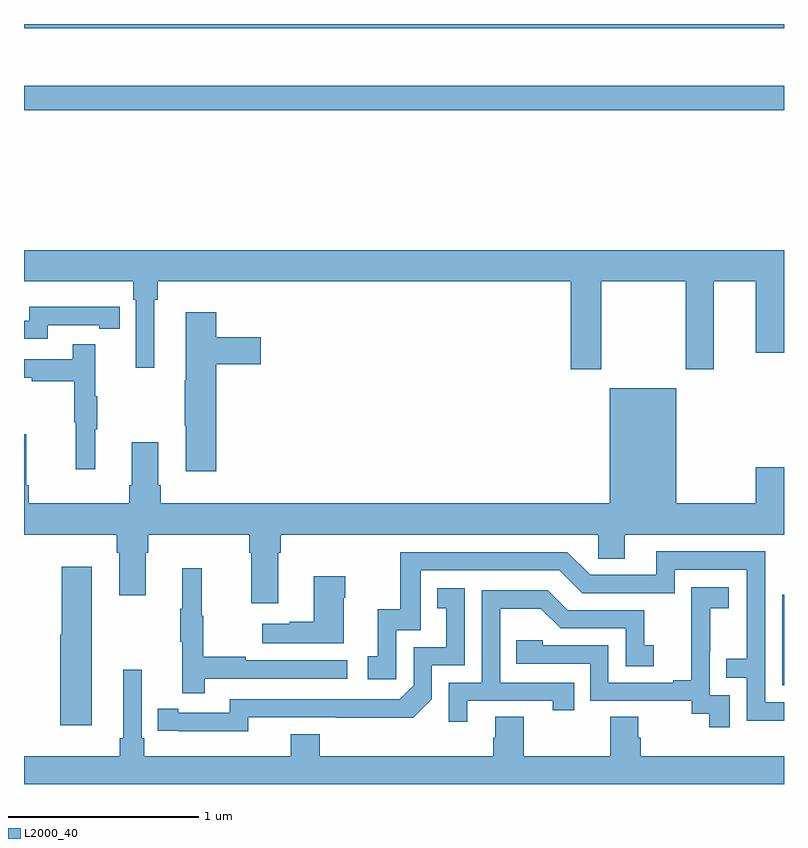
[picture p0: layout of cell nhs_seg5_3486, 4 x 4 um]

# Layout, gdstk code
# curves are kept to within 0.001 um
import gdstk
lib = gdstk.Library(unit=1e-6, precision=1e-09)
def R(c, l, rs):  # rectangles x0, y0, x1, y1
    for r in rs: c.add(gdstk.rectangle(r[:2], r[2:], *l))
def P(c, l, *ps):  # polygons
    for p in ps: c.add(gdstk.Polygon(p, *l))
L2000_40 = (2000, 40)

nhs_seg5_3486 = lib.new_cell('nhs_seg5_3486')
R(nhs_seg5_3486, L2000_40, [(320.991,837.318,321,837.795), (317,840.346,321,840.475), (317,840.776,321,840.799)])
P(nhs_seg5_3486, L2000_40, [(320.037,839.444),(320.482,839.444),(320.482,838.983),(320.629,838.983),(320.629,839.444),(320.852,839.444),(320.852,839.07),(321,839.07),(321,839.608),(317,839.608),(317,839.444),(317.576,839.444),(317.576,839.348),(317.589,839.348),(317.589,838.989),(317.686,838.989),(317.686,839.348),(317.705,839.348),(317.705,839.444),(319.877,839.444),(319.877,838.983),(320.037,838.983)],
  [(317.124,839.214),(317.396,839.214),(317.396,839.194),(317.504,839.194),(317.504,839.31),(317.396,839.31),(317.396,839.311),(317.028,839.311),(317.028,839.238),(317,839.238),(317,839.142),(317.124,839.142)],
  [(318.011,839.009),(318.247,839.009),(318.247,839.151),(318.011,839.151),(318.011,839.281),(317.852,839.281),(317.852,838.925),(317.845,838.925),(317.845,838.684),(317.852,838.684),(317.852,838.446),(318.011,838.446)],
  [(317.375,838.667),(317.386,838.667),(317.386,838.841),(317.375,838.841),(317.375,839.113),(317.257,839.113),(317.257,839.034),(317,839.034),(317,838.938),(317.041,838.938),(317.041,838.918),(317.265,838.918),(317.265,838.704),(317.272,838.704),(317.272,838.455),(317.375,838.455)],
  [(318.337,838.016),(318.35,838.016),(318.35,838.112),(320.022,838.112),(320.022,837.985),(320.161,837.985),(320.161,838.112),(321,838.112),(321,838.465),(320.852,838.465),(320.852,838.276),(320.434,838.276),(320.434,838.882),(320.084,838.882),(320.084,838.276),(317.72,838.276),(317.72,838.372),(317.707,838.372),(317.707,838.597),(317.567,838.597),(317.567,838.372),(317.555,838.372),(317.555,838.276),(317.024,838.276),(317.024,838.372),(317.011,838.372),(317.011,838.639),(317,838.639),(317,838.112),(317.489,838.112),(317.489,838.016),(317.501,838.016),(317.501,837.792),(317.641,837.792),(317.641,838.016),(317.654,838.016),(317.654,838.112),(318.185,838.112),(318.185,838.016),(318.197,838.016),(318.197,837.75),(318.337,837.75)],
  [(321,837.228),(320.901,837.228),(320.901,838.023),(320.327,838.023),(320.327,837.9),(319.98,837.9),(319.86,838.02),(318.981,838.02),(318.981,837.718),(318.863,837.718),(318.863,837.471),(318.81,837.471),(318.81,837.351),(318.96,837.351),(318.96,837.609),(319.089,837.609),(319.089,837.924),(319.818,837.924),(319.938,837.804),(320.424,837.804),(320.424,837.927),(320.805,837.927),(320.805,837.458),(320.695,837.458),(320.695,837.357),(320.805,837.357),(320.805,837.132),(321,837.132)],
  [(317.356,837.943),(317.198,837.943),(317.198,837.585),(317.192,837.585),(317.192,837.108),(317.356,837.108)],
  [(317.951,837.354),(318.7,837.354),(318.7,837.45),(318.167,837.45),(318.167,837.47),(317.944,837.47),(317.944,837.684),(317.936,837.684),(317.936,837.934),(317.834,837.934),(317.834,837.721),(317.823,837.721),(317.823,837.547),(317.834,837.547),(317.834,837.276),(317.951,837.276)],
  [(318.682,837.779),(318.69,837.779),(318.69,837.892),(318.524,837.892),(318.524,837.653),(318.398,837.653),(318.398,837.643),(318.255,837.643),(318.255,837.539),(318.682,837.539)],
  [(320.715,837.267),(320.61,837.267),(320.61,837.497),(320.612,837.497),(320.612,837.725),(320.71,837.725),(320.71,837.835),(320.512,837.835),(320.512,837.629),(320.513,837.629),(320.513,837.346),(320.417,837.346),(320.417,837.333),(320.076,837.333),(320.076,837.528),(319.731,837.528),(319.731,837.555),(319.591,837.555),(319.591,837.432),(319.98,837.432),(319.98,837.237),(320.514,837.237),(320.514,837.169),(320.607,837.169),(320.607,837.099),(320.715,837.099)],
  [(318.18,837.15),(319.048,837.149),(319.146,837.246),(319.146,837.423),(319.32,837.423),(319.32,837.829),(319.174,837.829),(319.174,837.723),(319.223,837.723),(319.223,837.519),(319.05,837.519),(319.05,837.318),(318.978,837.246),(318.084,837.246),(318.084,837.174),(317.812,837.174),(317.812,837.194),(317.704,837.194),(317.704,837.078),(318.18,837.077)],
  [(319.333,837.237),(319.784,837.237),(319.784,837.186),(319.895,837.186),(319.895,837.333),(319.506,837.333),(319.506,837.722),(319.72,837.722),(319.824,837.618),(320.166,837.618),(320.166,837.42),(320.314,837.42),(320.314,837.529),(320.265,837.529),(320.265,837.714),(319.861,837.714),(319.756,837.819),(319.41,837.819),(319.41,837.333),(319.236,837.333),(319.236,837.126),(319.333,837.126)],
  [(321,836.944),(320.246,836.944),(320.246,837.042),(320.233,837.042),(320.233,837.152),(320.086,837.152),(320.086,836.944),(319.629,836.944),(319.629,837.152),(319.481,837.152),(319.481,837.042),(319.469,837.042),(319.469,836.944),(318.557,836.944),(318.557,837.061),(318.404,837.061),(318.404,836.944),(317.633,836.944),(317.633,837.04),(317.619,837.04),(317.619,837.4),(317.522,837.4),(317.522,837.04),(317.503,837.04),(317.503,836.944),(317,836.944),(317,836.799),(321,836.799)])

lib.write_gds('nhs_seg5_3486.gds')
